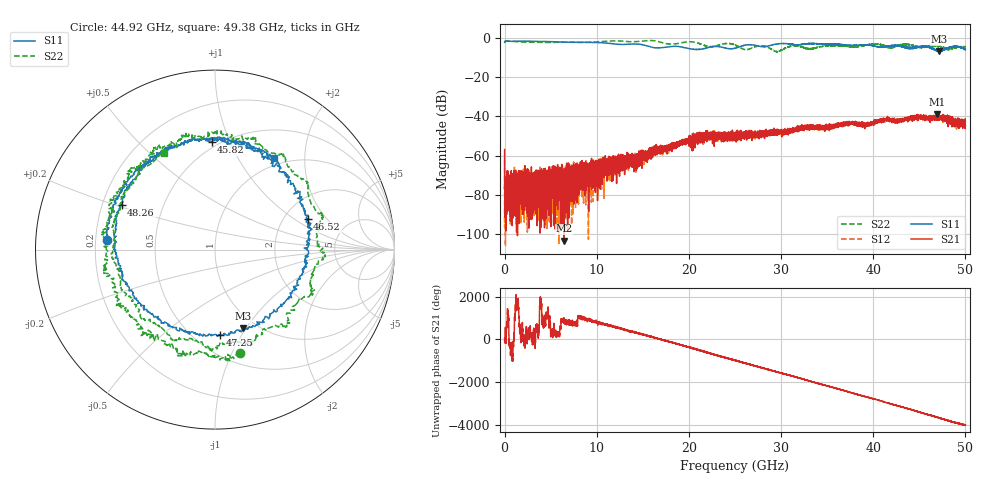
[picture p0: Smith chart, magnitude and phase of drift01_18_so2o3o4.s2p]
!Created with skrf (http://scikit-rf.org).
# Hz S RI R 50.0
!freq ReS11 ImS11 ReS21 ImS21 ReS12 ImS12 ReS22 ImS22
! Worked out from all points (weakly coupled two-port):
!   10001 points, 300 kHz to 50 GHz, reference 50 ohm
!   highest |S21| = -38.78 dB at 46.94 GHz (marker M1); lowest = -103.6 dB at 6.46 GHz (marker M2)
!   lowest |S11| = -6.7 dB at 47.15 GHz (marker M3), VSWR 2.73, Z = 43.3 - j48.3 ohm
!   |S11| at or under -10 dB: nowhere
!   |S22| runs from -6.9 to -1.0 dB; largest |S21 - S12| = 0.0036
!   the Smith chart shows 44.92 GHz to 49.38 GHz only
!   S11 on the Smith chart (normalised r, x): 44.92 GHz: 0.25, +0.04; 45.82 GHz: 0.46, +0.86; 46.52 GHz: 2.67, +1.30; 47.25 GHz: 0.66, -0.81; 48.26 GHz: 0.28, +0.21; 49.38 GHz: 0.89, +1.44
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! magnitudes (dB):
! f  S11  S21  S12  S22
! 300 kHz  -2.1  -56.9  -62.0  -1.3
! 255.3 MHz  -1.4  -72.5  -73.1  -1.4
! 390.3 MHz  -1.4  -68.0  -77.3  -1.4
! 4.795 GHz  -1.6  -75.9  -74.1  -2.1
! 6.46 GHz  -1.9  -103.6  -67.9  -1.9
! 8.335 GHz  -1.9  -75.2  -69.6  -2.1
! 16.67 GHz  -4.8  -55.8  -57.7  -1.6
! 21.51 GHz  -5.4  -50.0  -49.4  -3.3
! 25 GHz  -5.0  -49.3  -50.5  -3.4
! 29.52 GHz  -2.8  -48.4  -49.5  -6.8
! 31.3 GHz  -3.1  -46.8  -46.7  -4.0
! 33.34 GHz  -2.6  -45.5  -45.9  -5.5
! 41.67 GHz  -3.9  -41.8  -41.2  -4.6
! 44.92 GHz  -4.4  -40.4  -40.4  -4.6
! 45.82 GHz  -4.4  -41.1  -41.1  -4.0
! 46.52 GHz  -5.3  -40.7  -40.1  -4.0
! 46.94 GHz  -6.4  -38.8  -39.8  -3.9
! 47.15 GHz  -6.7  -39.9  -41.4  -4.1
! 47.25 GHz  -6.4  -41.2  -41.3  -4.3
! 48.26 GHz  -4.8  -41.0  -40.5  -5.3
! 49.38 GHz  -4.3  -43.0  -43.2  -4.3
! 50 GHz  -5.6  -44.6  -42.3  -4.3
